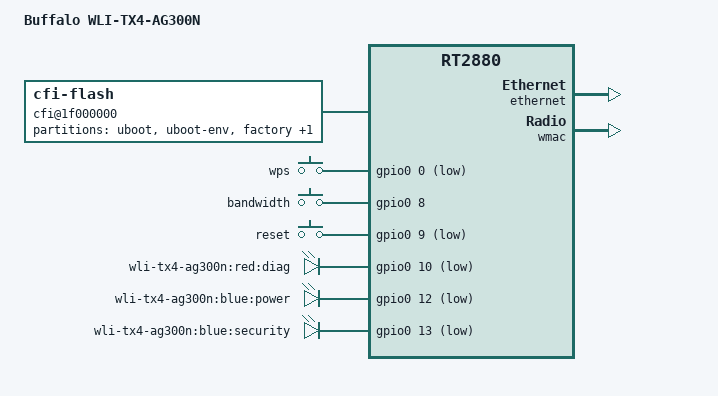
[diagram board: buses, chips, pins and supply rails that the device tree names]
/dts-v1/;

#include "rt2880.dtsi"

/ {
	#address-cells = <1>;
	#size-cells = <1>;
	compatible = "WLI-TX4-AG300N", "ralink,rt2880-soc";
	model = "Buffalo WLI-TX4-AG300N";

	cfi@1f000000 {
		compatible = "cfi-flash";
		reg = <0x1f000000 0x800000>;
		bank-width = <2>;
		device-width = <2>;
		#address-cells = <1>;
		#size-cells = <1>;

		partition@0 {
			label = "uboot";
			reg = <0x0 0x30000>;
			read-only;
		};

		partition@30000 {
			label = "uboot-env";
			reg = <0x30000 0x10000>;
			read-only;
		};

		factory: partition@40000 {
			label = "factory";
			reg = <0x40000 0x10000>;
			read-only;
		};

		partition@50000 {
			label = "linux";
			reg = <0x50000 0x3b0000>;
		};
	};

	gpio-keys-polled {
		compatible = "gpio-keys-polled";
		#address-cells = <1>;
		#size-cells = <0>;
		poll-interval = <100>;

		wps {
			label = "wps";
			gpios = <&gpio0 0 1>;
			linux,code = <0x211>;
		};

		bandwidth {
			label = "bandwidth";
			gpios = <&gpio0 8 0>;
			linux,code = <0x198>;
		};

		reset {
			label = "reset";
			gpios = <&gpio0 9 1>;
			linux,code = <0x198>;
		};
	};

	gpio-leds {
		compatible = "gpio-leds";

		diag {
			label = "wli-tx4-ag300n:red:diag";
			gpios = <&gpio0 10 1>;
		};

		power {
			label = "wli-tx4-ag300n:blue:power";
			gpios = <&gpio0 12 1>;
		};

		security {
			label = "wli-tx4-ag300n:blue:security";
			gpios = <&gpio0 13 1>;
		};
	};
};

&gpio0 {
	status = "okay";
};

&ethernet {
	status = "okay";
	mtd-mac-address = <&factory 0x4>;

	port@0 {
		mediatek,fixed-link = <1000 1 1 1>;
	};
};

&wmac {
	ralink,mtd-eeprom = <&factory 0>;
};
